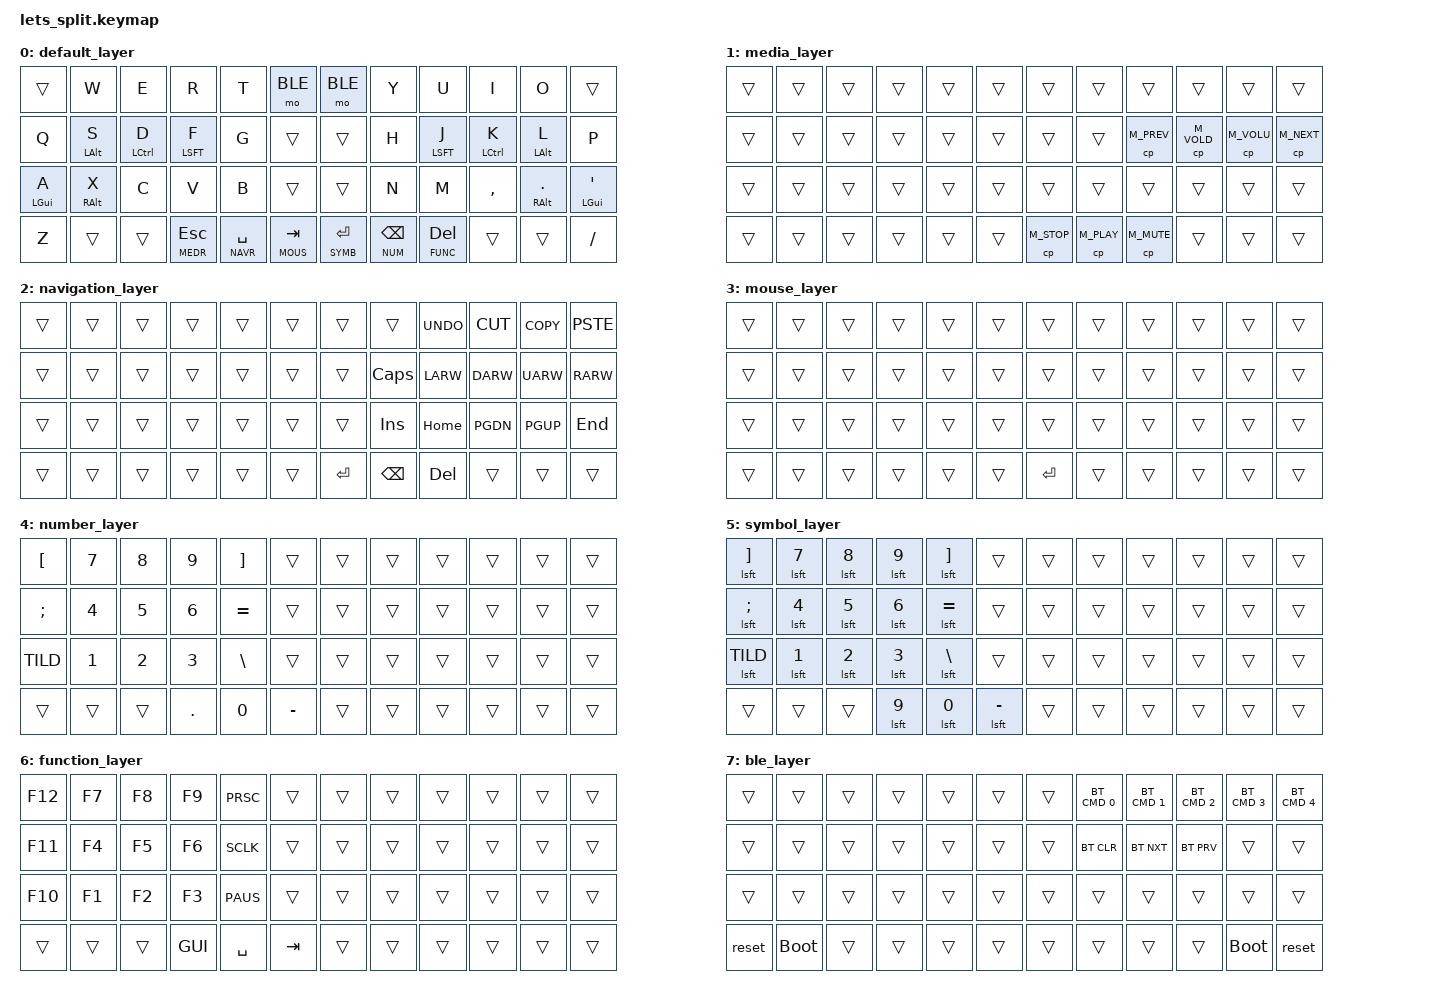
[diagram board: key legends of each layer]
#include <behaviors.dtsi>
#include <dt-bindings/zmk/keys.h>
#include <dt-bindings/zmk/bt.h>
#

#define BASE 	0
#define MEDR 	1
#define NAVR 	2
#define MOUS 	3
#define NUM  	4
#define SYMB 	5
#define FUNC 	6
#define BLE  	7

#define BT_CLR BT_CLR_CMD 0
#define BT_NXT BT_NXT_CMD 0
#define BT_PRV BT_PRV_CMD 0
#define BT_SEL BT_SEL_CMD

/ {
	behaviors {
        hm: homerow_mods {
            compatible = "zmk,behavior-hold-tap";
            label = "HOMEROW_MODS";
            #binding-cells = <2>;
            tapping_term_ms = <175>;
            flavor = "balanced";
            bindings = <&kp>, <&kp>;
        };
    };
	keymap {
		compatible = "zmk,keymap";

		default_layer {
// ------------------------------------------------------------------------------------------------------------
// | RST |  W  |  E  |  R  |  T  | BT  |                  | BT  |  Y   |  U    |  I    |  O   |  RST |
// |  Q  |  S  |  D  |  F  |  G  | NOP |                  | NOP |  H   |  J    |  K    |  L   |   P  |
// |  A	 |  X  |  C  |  V  |  B  | NOP |                  | NOP |  N   |  M    | CMA   |  .   |   '  |
// |  Z	 | NOP | NOP | ESC | SPC | TAB |                  | ENT | BSPC |  DEL  |  NOP  |  NOP |  /   |
			bindings = <
&trans 		&kp W   	&kp E   	&kp R    	 &kp T   	  &mo BLE			&mo BLE			&kp Y			&kp U		 	&kp I     		&kp O			&trans
&kp Q		&hm LALT S	&hm LCTL D	&hm LSFT F	 &kp G   	  &trans			&trans 			&kp H			&hm LSFT J	 	&hm LCTL K		&hm LALT L		&kp P
&hm LGUI A 	&hm RALT X  &kp C   	&kp V    	 &kp B   	  &trans			&trans 			&kp N			&kp M		 	&kp CMMA  		&hm RALT DOT	&hm LGUI QUOT
&kp Z 		&trans		&trans  	&lt MEDR ESC &lt NAVR SPC &lt MOUS TAB			&lt SYMB RET	&lt NUM BKSP	&lt FUNC DEL	&trans  		&trans			&kp FSLH
			>;
		};

		media_layer {
// ------------------------------------------------------------------------------------------------------------
// |     |     |     |      |      |      |                   |      |      |      |      |       |       |
// |     |     |     |      |      |      |                   |      |      | PREV | VOL- | VOL+  | NEXT  |
// |     |     |     |      |      |      |                   |      |      |      |      |       |       |
// |     |     |     |      |      |      |                   | STOP | PLAY | MUTE |      |       |       |
			bindings = <
&trans &trans &trans &trans &trans &trans					&trans 		&trans 		&trans  	&trans 		&trans 		&trans
&trans &trans &trans &trans &trans &trans					&trans    	&trans		&cp M_PREV 	&cp M_VOLD	&cp M_VOLU  &cp M_NEXT
&trans &trans &trans &trans &trans &trans					&trans   	&trans  	&trans   	&trans    	&trans  	&trans
&trans &trans &trans &trans &trans &trans					&cp M_STOP	&cp M_PLAY	&cp M_MUTE 	&trans		&trans  	&trans
			>;
		};

		navigation_layer {
// ------------------------------------------------------------------------------------------------------------
// |     |     |     |      |      |      |                   |       |      | UNDO | CUT  | COPY | PASTE |
// |     |     |     |      |      |      |                   |       | CAPS | LEFT | DOWN | UP   | RIGHT |
// |     |     |     |      |      |      |                   |       | INS  | HOME | PGDN | PGUP | END   |
// |     |     |     |      |      |      |                   |       | ENT  | BSPC | DEL  |      |       |
			bindings = <
&trans &trans &trans &trans &trans &trans					&trans		&trans 		&kp UNDO	&kp CUT  	&kp COPY 	&kp PSTE
&trans &trans &trans &trans &trans &trans					&trans		&kp CLCK   	&kp LARW 	&kp DARW	&kp UARW  	&kp RARW
&trans &trans &trans &trans &trans &trans					&trans		&kp INS   	&kp HOME  	&kp PGDN   	&kp PGUP   	&kp END
&trans &trans &trans &trans &trans &trans					&kp RET		&kp BKSP	&kp DEL 	&trans		&trans		&trans
			>;
		};

		mouse_layer {
// ------------------------------------------------------------------------------------------------------------
// |     |     |     |      |      |      |                   |     |     |     |      |      |      |
// |     |     |     |      |      |      |                   |     |     |     |      |      |      |
// |     |     |     |      |      |      |                   |     |     |     |      |      |      |
// |     |     |     |      |      |      |                   |     |     |     |      |      |      |
			bindings = <
&trans &trans &trans &trans &trans &trans					&trans &trans &trans &trans &trans &trans
&trans &trans &trans &trans &trans &trans					&trans &trans &trans &trans &trans &trans
&trans &trans &trans &trans &trans &trans					&trans &trans &trans &trans &trans &trans
&trans &trans &trans &trans &trans &trans					&kp RET &trans &trans &trans &trans &trans
			>;
		};

		number_layer {
// ------------------------------------------------------------------------------------------------------------
// | RBT |  7  |  8  |  9  | LBT |     |                   |     |     |     |      |      |      |
// |  ;  |  4  |  5  |  6  |  =  |     |                   |     |     |     |      |      |      |
// | HSH |  1  |  2  |  3  |  \  |     |                   |     |     |     |      |      |      |
// |     |     |     |  .  |  0  |  -  |                   |     |     |     |      |      |      |
			bindings = <
&kp LBKT	&kp NUM_7	&kp NUM_8	&kp NUM_9 	&kp RBKT 		&trans					&trans &trans &trans &trans &trans &trans
&kp SCLN	&kp NUM_4	&kp NUM_5	&kp NUM_6 	&kp EQL 		&trans					&trans &trans &trans &trans &trans &trans
&kp TILD	&kp NUM_1	&kp NUM_2	&kp NUM_3 	&kp BSLH 		&trans					&trans &trans &trans &trans &trans &trans
&trans 		&trans 		&trans 		&kp DOT		&kp NUM_0 	&kp MINUS				&trans &trans &trans &trans &trans &trans
			>;
		};

		symbol_layer {
// ------------------------------------------------------------------------------------------------------------
// | LBR |  &  |  *  | LPR | RBR |     |                   |     |     |     |      |      |      |
// |  :  |  $  |  %  |  ^  |  +  |     |                   |     |     |     |      |      |      |
// |  ~  |  !  |QUOT |  £  | PIPE|     |                   |     |     |     |      |      |      |
// |     |     |     | LPR | RPR |  _  |                   |     |     |     |      |      |      |
			bindings = <
&lsft RBKT	&lsft NUM_7	&lsft NUM_8	&lsft NUM_9 &lsft RBKT	&trans					&trans &trans &trans &trans &trans &trans
&lsft SCLN	&lsft NUM_4	&lsft NUM_5	&lsft NUM_6 &lsft EQL	&trans					&trans &trans &trans &trans &trans &trans
&lsft TILD	&lsft NUM_1	&lsft NUM_2	&lsft NUM_3 &lsft BSLH	&trans					&trans &trans &trans &trans &trans &trans
&trans 		&trans 		&trans 		&lsft NUM_9	&lsft NUM_0 &lsft MINUS				&trans &trans &trans &trans &trans &trans
			>;
		};

		function_layer {
// ------------------------------------------------------------------------------------------------------------
// | F12 |  F7 |  F8 | F9 | PSCR|     |                   |     |     |     |      |      |      |
// | F11 |  F4 |  F5 | F6 | SCLK|     |                   |     |     |     |      |      |      |
// | F10 |  F1 |  F2 | F3 | PAUS|     |                   |     |     |     |      |      |      |
// |     |     |     | APP| SPC | TAB |                   |     |     |     |      |      |      |
			bindings = <
&kp F12	&kp F7	&kp F8	&kp F9 	&kp PRSC 	&trans				&trans &trans &trans &trans &trans &trans
&kp F11	&kp F4	&kp F5	&kp F6 	&kp SCLK 	&trans				&trans &trans &trans &trans &trans &trans
&kp F10	&kp F1	&kp F2	&kp F3 	&kp PAUS 	&trans				&trans &trans &trans &trans &trans &trans
&trans 	&trans 	&trans 	&kp GUI	&kp SPC 	&kp TAB				&trans &trans &trans &trans &trans &trans
			>;
		};

		ble_layer {
// ------------------------------------------------------------------------------------------------------------
// |     |     |     |      |      |      |                   |      |BT_SEL 0	|BT_SEL 1	|BT_SEL 2	|BT_SEL 3	|BT_SEL 4	|
// |     |     |     |      |      |      |                   |      |BT_CLR	|BT_NXT		|BT_PRV		|      		|      		|
// |     |     |     |      |      |      |                   |      |     		|      		|      		|      		|      		|
// |     |BOOT |     |      |      |      |                   |      |     		|      		|      		|BOOT		|      		|
			bindings = <
&trans &trans 		&trans &trans &trans &trans					&trans &bt BT_SEL 0 &bt BT_SEL 1 	&bt BT_SEL 2 	&bt BT_SEL 3	&bt BT_SEL 4
&trans &trans 		&trans &trans &trans &trans					&trans &bt BT_CLR 	&bt BT_NXT 		&bt BT_PRV 		&trans 			&trans
&trans &trans 		&trans &trans &trans &trans					&trans &trans 		&trans 			&trans 			&trans 			&trans
&reset &bootloader 	&trans &trans &trans &trans					&trans &trans 		&trans 			&trans 			&bootloader 	&reset
			>;
		};
	};
};
